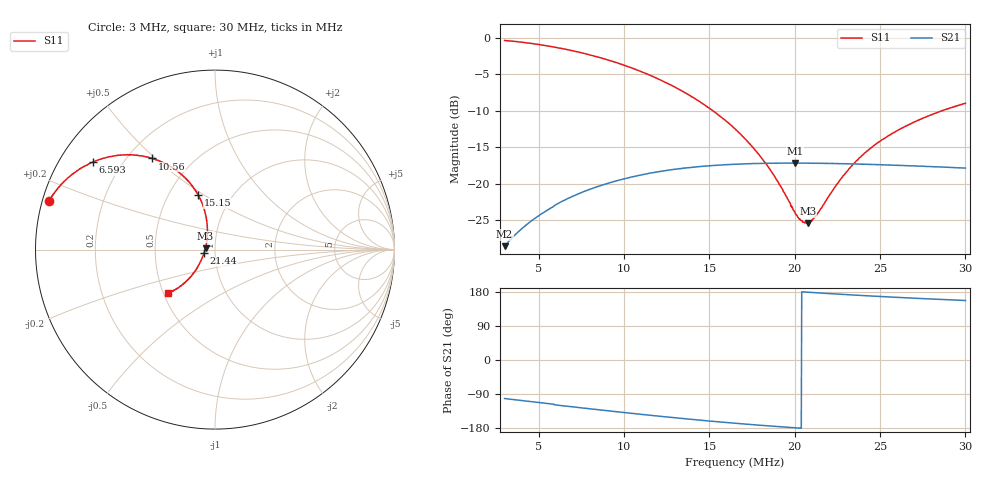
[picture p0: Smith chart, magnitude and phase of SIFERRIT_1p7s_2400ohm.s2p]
# HZ S RI R 50
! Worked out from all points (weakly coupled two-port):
!   1023 points, 3 MHz to 30 MHz, reference 50 ohm
!   highest |S21| = -17.18 dB at 20.01 MHz (marker M1); lowest = -28.6 dB at 3 MHz (marker M2)
!   lowest |S11| = -25.5 dB at 20.78 MHz (marker M3), VSWR 1.11, Z = 45 + j0.701 ohm
!   |S11| at or under -10 dB: 15.2 MHz to 28.61 MHz (13.41 MHz wide, 61.2 % of centre)
!   S12 and S22 are empty: the file has one direction only
!   S11 on the Smith chart (normalised r, x): 3 MHz: 0.02, +0.14; 6.593 MHz: 0.10, +0.32; 10.56 MHz: 0.30, +0.49; 15.15 MHz: 0.69, +0.47; 21.44 MHz: 0.88, -0.04; 30 MHz: 0.53, -0.29
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3000000  -0.9243 0.2717  -0.00755 -0.0363  0 0  0 0
4585140  -0.832 0.389  -0.019 -0.0521  0 0  0 0
6592984  -0.68 0.4882  -0.0407 -0.0661  0 0  0 0
7517649  -0.603 0.5136  -0.0515 -0.07  0 0  0 0
8997113  -0.4758 0.5291  -0.069 -0.0722  0 0  0 0
1.055583e7  -0.3494 0.5079  -0.087 -0.0698  0 0  0 0
1.200888e7  -0.2463 0.4619  -0.1022 -0.0638  0 0  0 0
1.372611e7  -0.1506 0.3828  -0.1168 -0.0528  0 0  0 0
1.515274e7  -0.0953 0.3048  -0.1261 -0.0421  0 0  0 0
1.650011e7  -0.062 0.2298  -0.1321 -0.0308  0 0  0 0
1.84287e7  -0.0433 0.1236  -0.1369 -0.0152  0 0  0 0
2.001384e7  -0.0463 0.0432  -0.1384 -0.00283  0 0  0 0
2.03837e7  -0.0495 0.0256  -0.1382 -8.98e-05  0 0  0 0
2.077999e7  -0.0526 0.00776  -0.138 0.00288  0 0  0 0
2.101776e7  -0.0555 -0.00246  -0.1377 0.00459  0 0  0 0
2.144046e7  -0.061 -0.0206  -0.1375 0.00734  0 0  0 0
2.244438e7  -0.0778 -0.0599  -0.1365 0.0141  0 0  0 0
2.328979e7  -0.0937 -0.0909  -0.1351 0.0194  0 0  0 0
2.432013e7  -0.1151 -0.1252  -0.1329 0.0251  0 0  0 0
2.550899e7  -0.143 -0.1589  -0.1301 0.0311  0 0  0 0
2.746399e7  -0.1918 -0.2034  -0.1251 0.0405  0 0  0 0
3.000022e7  -0.2606 -0.2431  -0.1176 0.0497  0 0  0 0
